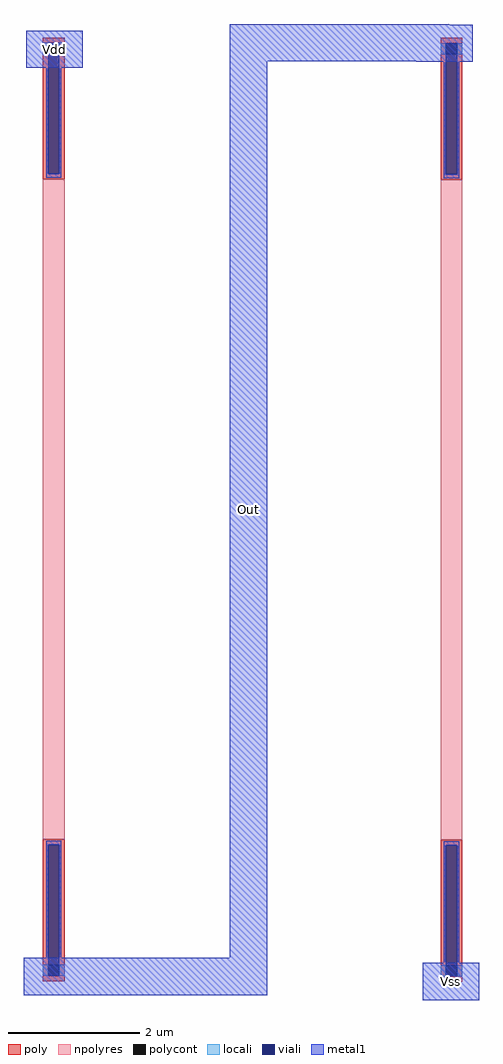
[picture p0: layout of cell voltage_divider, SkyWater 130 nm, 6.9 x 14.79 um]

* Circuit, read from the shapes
.subckt voltage_divider Vdd Vss Out
R1 Vdd Out sky130_fd_pr__res_generic_po w=0.33 l=10
R2 Out Vss sky130_fd_pr__res_generic_po w=0.33 l=10
.ends

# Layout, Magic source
magic
tech sky130A
magscale 1 2
<< metal1 >>
rect 1366 1899 2032 1901
rect 749 1768 920 1881
rect 1366 1788 2103 1899
rect 1366 -929 1479 1788
rect 1932 1786 2103 1788
rect 742 -1042 1479 -929
rect 1951 -1057 2122 -944
use sky130_fd_pr__res_generic_po_UY5NN7  sky130_fd_pr__res_generic_po_UY5NN7_0
transform 1 0 2038 0 1 429
box -33 -1430 33 1430
use sky130_fd_pr__res_generic_po_UY5NN7  sky130_fd_pr__res_generic_po_UY5NN7_1
transform 1 0 833 0 1 430
box -33 -1430 33 1430
<< labels >>
flabel metal1 749 1768 920 1881 0 FreeSans 800 0 0 0 Vdd
port 0 nsew
flabel metal1 1951 -1057 2122 -944 0 FreeSans 800 0 0 0 Vss
port 1 nsew
flabel metal1 1366 -1042 1479 1901 0 FreeSans 800 0 0 0 Out
port 2 nsew
<< end >>

# cell sky130_fd_pr__res_generic_po_UY5NN7: kit device sky130_fd_pr__res_generic_po, w 0.330 l 10 m 1 nx 1 wmin 0.330 lmin 1.650 rho 48.2 val 1.46k dummy 0 dw 0.0 term 0.0 sterm 0.0 caplen 0.4 snake 0 guard 0 glc 1 grc 1 gtc 1 gbc 1 roverlap 0 endcov 100 full_metal 1 hv_guard 0 n_guard 0 vias 1 viagb 0 viagt 0 viagl 0 viagr 0
